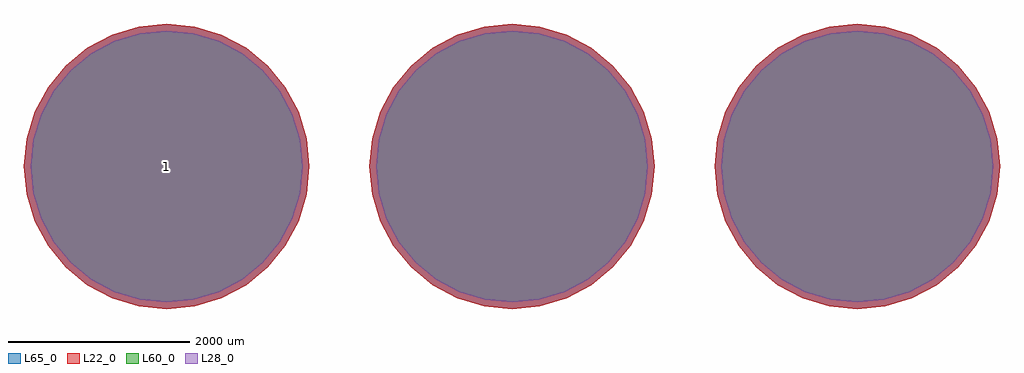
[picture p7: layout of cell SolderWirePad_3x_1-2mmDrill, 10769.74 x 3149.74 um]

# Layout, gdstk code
import gdstk
lib = gdstk.Library(unit=1e-6, precision=1e-09)
def P(c, l, *ps):  # polygons
    for p in ps: c.add(gdstk.Polygon(p, *l))
L22_0 = (22, 0)
L28_0 = (28, 0)
L60_0 = (60, 0)
L65_0 = (65, 0)

solderwirepad_3x_1_2mmdr = lib.new_cell('SolderWirePad_3x_1-2mmDrill')
P(solderwirepad_3x_1_2mmdr, L22_0, [(5384.87,0),(5354.609,307.242),(5264.99,602.677),(5119.457,874.951),(4923.601,1113.601),(4684.951,1309.457),(4412.677,1454.99),(4117.242,1544.609),(3810,1574.87),(3502.758,1544.609),(3207.323,1454.99),(2935.049,1309.457),(2696.399,1113.601),(2500.543,874.951),(2355.01,602.677),(2265.391,307.242),(2235.13,0),(2265.391,-307.242),(2355.01,-602.677),(2500.543,-874.951),(2696.399,-1113.601),(2935.049,-1309.457),(3207.323,-1454.99),(3502.758,-1544.609),(3810,-1574.87),(4117.242,-1544.609),(4412.677,-1454.99),(4684.951,-1309.457),(4923.601,-1113.601),(5119.457,-874.951),(5264.99,-602.677),(5354.609,-307.242)],
  [(1574.87,0),(1544.609,307.242),(1454.99,602.677),(1309.457,874.951),(1113.601,1113.601),(874.951,1309.457),(602.677,1454.99),(307.242,1544.609),(0,1574.87),(-307.242,1544.609),(-602.677,1454.99),(-874.951,1309.457),(-1113.601,1113.601),(-1309.457,874.951),(-1454.99,602.677),(-1544.609,307.242),(-1574.87,0),(-1544.609,-307.242),(-1454.99,-602.677),(-1309.457,-874.951),(-1113.601,-1113.601),(-874.951,-1309.457),(-602.677,-1454.99),(-307.242,-1544.609),(0,-1574.87),(307.242,-1544.609),(602.677,-1454.99),(874.951,-1309.457),(1113.601,-1113.601),(1309.457,-874.951),(1454.99,-602.677),(1544.609,-307.242)],
  [(-2235.13,0),(-2265.391,307.242),(-2355.01,602.677),(-2500.543,874.951),(-2696.399,1113.601),(-2935.049,1309.457),(-3207.323,1454.99),(-3502.758,1544.609),(-3810,1574.87),(-4117.242,1544.609),(-4412.677,1454.99),(-4684.951,1309.457),(-4923.601,1113.601),(-5119.457,874.951),(-5264.99,602.677),(-5354.609,307.242),(-5384.87,0),(-5354.609,-307.242),(-5264.99,-602.677),(-5119.457,-874.951),(-4923.601,-1113.601),(-4684.951,-1309.457),(-4412.677,-1454.99),(-4117.242,-1544.609),(-3810,-1574.87),(-3502.758,-1544.609),(-3207.323,-1454.99),(-2935.049,-1309.457),(-2696.399,-1113.601),(-2500.543,-874.951),(-2355.01,-602.677),(-2265.391,-307.242)])
P(solderwirepad_3x_1_2mmdr, L28_0, [(5309.87,0),(5281.05,292.61),(5195.699,573.975),(5057.096,833.283),(4870.568,1060.568),(4643.283,1247.096),(4383.975,1385.699),(4102.61,1471.05),(3810,1499.87),(3517.39,1471.05),(3236.025,1385.699),(2976.717,1247.096),(2749.432,1060.568),(2562.904,833.283),(2424.301,573.975),(2338.95,292.61),(2310.13,0),(2338.95,-292.61),(2424.301,-573.975),(2562.904,-833.283),(2749.432,-1060.568),(2976.717,-1247.096),(3236.025,-1385.699),(3517.39,-1471.05),(3810,-1499.87),(4102.61,-1471.05),(4383.975,-1385.699),(4643.283,-1247.096),(4870.568,-1060.568),(5057.096,-833.283),(5195.699,-573.975),(5281.05,-292.61)],
  [(1499.87,0),(1471.05,292.61),(1385.699,573.975),(1247.096,833.283),(1060.568,1060.568),(833.283,1247.096),(573.975,1385.699),(292.61,1471.05),(0,1499.87),(-292.61,1471.05),(-573.975,1385.699),(-833.283,1247.096),(-1060.568,1060.568),(-1247.096,833.283),(-1385.699,573.975),(-1471.05,292.61),(-1499.87,0),(-1471.05,-292.61),(-1385.699,-573.975),(-1247.096,-833.283),(-1060.568,-1060.568),(-833.283,-1247.096),(-573.975,-1385.699),(-292.61,-1471.05),(0,-1499.87),(292.61,-1471.05),(573.975,-1385.699),(833.283,-1247.096),(1060.568,-1060.568),(1247.096,-833.283),(1385.699,-573.975),(1471.05,-292.61)],
  [(-2310.13,0),(-2338.95,292.61),(-2424.301,573.975),(-2562.904,833.283),(-2749.432,1060.568),(-2976.717,1247.096),(-3236.025,1385.699),(-3517.39,1471.05),(-3810,1499.87),(-4102.61,1471.05),(-4383.975,1385.699),(-4643.283,1247.096),(-4870.568,1060.568),(-5057.096,833.283),(-5195.699,573.975),(-5281.05,292.61),(-5309.87,0),(-5281.05,-292.61),(-5195.699,-573.975),(-5057.096,-833.283),(-4870.568,-1060.568),(-4643.283,-1247.096),(-4383.975,-1385.699),(-4102.61,-1471.05),(-3810,-1499.87),(-3517.39,-1471.05),(-3236.025,-1385.699),(-2976.717,-1247.096),(-2749.432,-1060.568),(-2562.904,-833.283),(-2424.301,-573.975),(-2338.95,-292.61)])
P(solderwirepad_3x_1_2mmdr, L60_0, [(5309.87,0),(5281.05,292.61),(5195.699,573.975),(5057.096,833.283),(4870.568,1060.568),(4643.283,1247.096),(4383.975,1385.699),(4102.61,1471.05),(3810,1499.87),(3517.39,1471.05),(3236.025,1385.699),(2976.717,1247.096),(2749.432,1060.568),(2562.904,833.283),(2424.301,573.975),(2338.95,292.61),(2310.13,0),(2338.95,-292.61),(2424.301,-573.975),(2562.904,-833.283),(2749.432,-1060.568),(2976.717,-1247.096),(3236.025,-1385.699),(3517.39,-1471.05),(3810,-1499.87),(4102.61,-1471.05),(4383.975,-1385.699),(4643.283,-1247.096),(4870.568,-1060.568),(5057.096,-833.283),(5195.699,-573.975),(5281.05,-292.61)],
  [(1499.87,0),(1471.05,292.61),(1385.699,573.975),(1247.096,833.283),(1060.568,1060.568),(833.283,1247.096),(573.975,1385.699),(292.61,1471.05),(0,1499.87),(-292.61,1471.05),(-573.975,1385.699),(-833.283,1247.096),(-1060.568,1060.568),(-1247.096,833.283),(-1385.699,573.975),(-1471.05,292.61),(-1499.87,0),(-1471.05,-292.61),(-1385.699,-573.975),(-1247.096,-833.283),(-1060.568,-1060.568),(-833.283,-1247.096),(-573.975,-1385.699),(-292.61,-1471.05),(0,-1499.87),(292.61,-1471.05),(573.975,-1385.699),(833.283,-1247.096),(1060.568,-1060.568),(1247.096,-833.283),(1385.699,-573.975),(1471.05,-292.61)],
  [(-2310.13,0),(-2338.95,292.61),(-2424.301,573.975),(-2562.904,833.283),(-2749.432,1060.568),(-2976.717,1247.096),(-3236.025,1385.699),(-3517.39,1471.05),(-3810,1499.87),(-4102.61,1471.05),(-4383.975,1385.699),(-4643.283,1247.096),(-4870.568,1060.568),(-5057.096,833.283),(-5195.699,573.975),(-5281.05,292.61),(-5309.87,0),(-5281.05,-292.61),(-5195.699,-573.975),(-5057.096,-833.283),(-4870.568,-1060.568),(-4643.283,-1247.096),(-4383.975,-1385.699),(-4102.61,-1471.05),(-3810,-1499.87),(-3517.39,-1471.05),(-3236.025,-1385.699),(-2976.717,-1247.096),(-2749.432,-1060.568),(-2562.904,-833.283),(-2424.301,-573.975),(-2338.95,-292.61)])
P(solderwirepad_3x_1_2mmdr, L65_0, [(5384.87,0),(5354.609,307.242),(5264.99,602.677),(5119.457,874.951),(4923.601,1113.601),(4684.951,1309.457),(4412.677,1454.99),(4117.242,1544.609),(3810,1574.87),(3502.758,1544.609),(3207.323,1454.99),(2935.049,1309.457),(2696.399,1113.601),(2500.543,874.951),(2355.01,602.677),(2265.391,307.242),(2235.13,0),(2265.391,-307.242),(2355.01,-602.677),(2500.543,-874.951),(2696.399,-1113.601),(2935.049,-1309.457),(3207.323,-1454.99),(3502.758,-1544.609),(3810,-1574.87),(4117.242,-1544.609),(4412.677,-1454.99),(4684.951,-1309.457),(4923.601,-1113.601),(5119.457,-874.951),(5264.99,-602.677),(5354.609,-307.242)],
  [(1574.87,0),(1544.609,307.242),(1454.99,602.677),(1309.457,874.951),(1113.601,1113.601),(874.951,1309.457),(602.677,1454.99),(307.242,1544.609),(0,1574.87),(-307.242,1544.609),(-602.677,1454.99),(-874.951,1309.457),(-1113.601,1113.601),(-1309.457,874.951),(-1454.99,602.677),(-1544.609,307.242),(-1574.87,0),(-1544.609,-307.242),(-1454.99,-602.677),(-1309.457,-874.951),(-1113.601,-1113.601),(-874.951,-1309.457),(-602.677,-1454.99),(-307.242,-1544.609),(0,-1574.87),(307.242,-1544.609),(602.677,-1454.99),(874.951,-1309.457),(1113.601,-1113.601),(1309.457,-874.951),(1454.99,-602.677),(1544.609,-307.242)],
  [(-2235.13,0),(-2265.391,307.242),(-2355.01,602.677),(-2500.543,874.951),(-2696.399,1113.601),(-2935.049,1309.457),(-3207.323,1454.99),(-3502.758,1544.609),(-3810,1574.87),(-4117.242,1544.609),(-4412.677,1454.99),(-4684.951,1309.457),(-4923.601,1113.601),(-5119.457,874.951),(-5264.99,602.677),(-5354.609,307.242),(-5384.87,0),(-5354.609,-307.242),(-5264.99,-602.677),(-5119.457,-874.951),(-4923.601,-1113.601),(-4684.951,-1309.457),(-4412.677,-1454.99),(-4117.242,-1544.609),(-3810,-1574.87),(-3502.758,-1544.609),(-3207.323,-1454.99),(-2935.049,-1309.457),(-2696.399,-1113.601),(-2500.543,-874.951),(-2355.01,-602.677),(-2265.391,-307.242)])
solderwirepad_3x_1_2mmdr.add(gdstk.Label('1', (-3810,0), layer=28, texttype=0))
solderwirepad_3x_1_2mmdr.add(gdstk.Label('type', (1270,-3810), layer=9, texttype=0))
solderwirepad_3x_1_2mmdr.add(gdstk.Label('devicename', (0,3810), layer=9, texttype=0))

lib.write_gds('SolderWirePad_3x_1-2mmDrill.gds')
